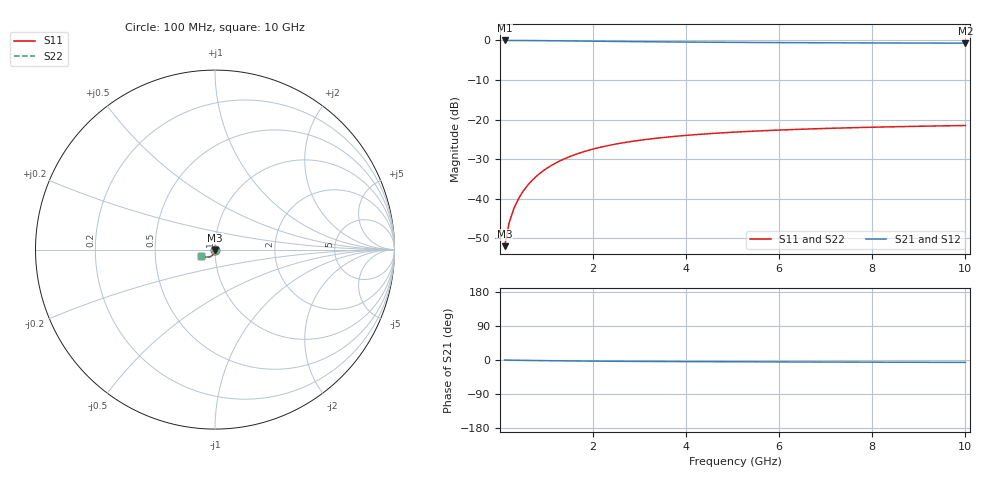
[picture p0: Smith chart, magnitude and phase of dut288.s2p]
! Touchstone file exported from HFSS 2024.1.0
!  File:  C:/UserFiles/LocalFiles/RDL_TSV_Batchsim/temp_TSV1_288_1778770740.aedt
!  Generated:  11:04:06 PM May 14, 2026
!  Design:  TSV1
!  Project:  temp_TSV1_288_1778770740
!  Setup:  Setup1
!  Solution:  Sweep
! Variables:
!  dtsv = 16.23um
!  hbump = 3um
!  htsv = 94.71um
!  lrdl = 252.1521522um
!  p = 40
!  p1 = 50.34um
!  t = 500um
!  trdl = 3um
!  wrdl = 24.89489489um
# GHz S MA R 50.000000
! Terminal data exported
! Port[1] = TSV22_T1
! Port[2] = TSV22_T2
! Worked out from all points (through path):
!   100 points, 100 MHz to 10 GHz, reference 50 ohm
!   highest |S21| = 0.00 dB at 100 MHz (marker M1); lowest = -0.7 dB at 10 GHz (marker M2)
!   lowest |S11| = -52.0 dB at 100 MHz (marker M3), VSWR 1.01, Z = 50 - j0.252 ohm
!   |S11| at or under -10 dB: start of sweep to end of sweep
!   |S22| runs from -52.0 to -21.5 dB; largest |S21 - S12| = 6.8e-15
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0.1  0.002525 -89.9  0.9998 -0.2  0.9998 -0.2  0.002525 -89.9
! Gamma 0 0 0 0
! Port Impedance 50 0 50 0
0.2  0.005054 -92.4  0.9996 -0.4  0.9996 -0.4  0.005054 -92.4
0.3  0.007576 -94.5  0.9992 -0.6  0.9992 -0.6  0.007576 -94.5
0.4  0.01008 -96.4  0.9986 -0.7  0.9986 -0.7  0.01008 -96.4
0.5  0.01254 -98.2  0.9979 -0.9  0.9979 -0.9  0.01254 -98.2
0.6  0.01497 -100.1  0.9971 -1.1  0.9971 -1.1  0.01497 -100.1
0.7  0.01735 -101.8  0.9962 -1.3  0.9962 -1.3  0.01735 -101.8
0.8  0.01967 -103.5  0.9952 -1.4  0.9952 -1.4  0.01967 -103.5
0.9  0.02194 -105.2  0.9941 -1.6  0.9941 -1.6  0.02194 -105.2
1.1  0.02629 -108.4  0.9916 -1.9  0.9916 -1.9  0.02629 -108.4
1.4  0.0323 -112.9  0.9875 -2.3  0.9875 -2.3  0.0323 -112.9
1.6  0.03597 -115.6  0.9846 -2.5  0.9846 -2.5  0.03597 -115.6
1.8  0.03936 -118.2  0.9817 -2.8  0.9817 -2.8  0.03936 -118.2
2.1  0.04396 -121.8  0.9773 -3.1  0.9773 -3.1  0.04396 -121.8
2.5  0.04928 -125.9  0.9717 -3.4  0.9717 -3.4  0.04928 -125.9
2.9  0.05381 -129.6  0.9665 -3.7  0.9665 -3.7  0.05381 -129.6
3.4  0.05857 -133.4  0.9607 -4.0  0.9607 -4.0  0.05857 -133.4
4.2  0.06462 -138.4  0.9527 -4.3  0.9527 -4.3  0.06462 -138.4
5.1  0.06983 -142.8  0.9456 -4.7  0.9456 -4.7  0.06983 -142.8
6.7  0.07642 -148.5  0.9361 -5.3  0.9361 -5.3  0.07642 -148.5
8.4  0.08116 -152.9  0.9291 -5.8  0.9291 -5.8  0.08116 -152.9
10  0.08432 -156.0  0.9244 -6.4  0.9244 -6.4  0.08432 -156.0
